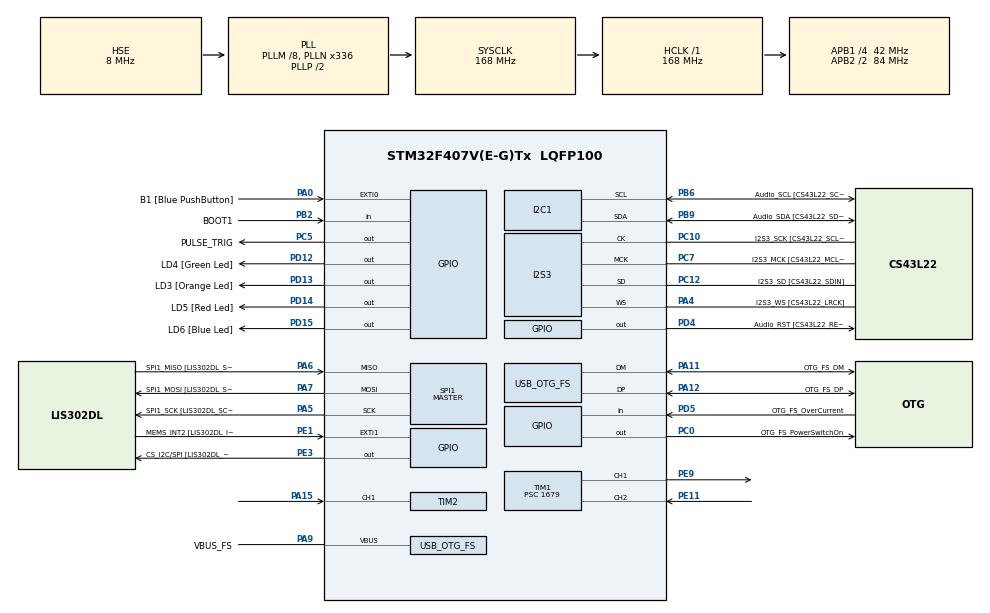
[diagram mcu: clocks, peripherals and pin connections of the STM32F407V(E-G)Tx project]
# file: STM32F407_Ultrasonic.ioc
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I2S3.AudioFreq-Half_Duplex_Master=I2S_AUDIOFREQ_96K
I2S3.ErrorAudioFreq=-2.34 %
I2S3.ErrorAudioFreq-Half_Duplex_Master=0.8 %
I2S3.FullDuplexMode=I2S_FULLDUPLEXMODE_DISABLE
I2S3.Instance=SPI$Index
I2S3.RealAudioFreq=93.75 KHz
I2S3.RealAudioFreq-Half_Duplex_Master=96.774 KHz
I2S3.VirtualMode=I2S_MODE_MASTER
Mcu.Family=STM32F4
Mcu.Name=STM32F407V(E-G)Tx
Mcu.Package=LQFP100
NVIC.OTG_FS_IRQn=true\:0\:0\:false\:false\:true\:true\:true\:true
NVIC.PriorityGroup=NVIC_PRIORITYGROUP_0
NVIC.TIM2_IRQn=true\:0\:0\:false\:false\:true\:true\:true\:true
PA0-WKUP.GPIO_Label=B1 [Blue PushButton]
PA0-WKUP.GPIO_ModeDefaultEXTI=GPIO_MODE_EVT_RISING
PA0-WKUP.GPIO_PuPd=GPIO_NOPULL
PA0-WKUP.Signal=GPXTI0
PA10.GPIO_Label=OTG_FS_ID
PA10.GPIO_Mode=GPIO_MODE_AF_PP
PA10.GPIO_PuPd=GPIO_NOPULL
PA10.GPIO_Speed=GPIO_SPEED_FREQ_LOW
PA10.Signal=USB_OTG_FS_ID
PA11.GPIO_Label=OTG_FS_DM
PA11.GPIO_Mode=GPIO_MODE_AF_PP
PA11.GPIO_PuPd=GPIO_NOPULL
PA11.GPIO_Speed=GPIO_SPEED_FREQ_LOW
PA11.Mode=Host_Only
PA11.Signal=USB_OTG_FS_DM
PA12.GPIO_Label=OTG_FS_DP
PA12.GPIO_Mode=GPIO_MODE_AF_PP
PA12.GPIO_PuPd=GPIO_NOPULL
PA12.GPIO_Speed=GPIO_SPEED_FREQ_LOW
PA12.Mode=Host_Only
PA12.Signal=USB_OTG_FS_DP
PA13.GPIO_Label=SWDIO
PA13.Mode=Serial_Wire
PA13.Signal=SYS_JTMS-SWDIO
PA14.GPIO_Label=SWCLK
PA14.Mode=Serial_Wire
PA14.Signal=SYS_JTCK-SWCLK
PA15.Signal=S_TIM2_CH1_ETR
PA4.GPIO_Label=I2S3_WS [CS43L22_LRCK]
PA4.GPIO_Mode=GPIO_MODE_AF_PP
PA4.GPIO_PuPd=GPIO_NOPULL
PA4.GPIO_Speed=GPIO_SPEED_FREQ_LOW
PA4.Mode=Half_Duplex_Master
PA4.Signal=I2S3_WS
PA5.GPIO_Label=SPI1_SCK [LIS302DL_SCL/SPC]
PA5.GPIO_Mode=GPIO_MODE_AF_PP
PA5.GPIO_PuPd=GPIO_NOPULL
PA5.GPIO_Speed=GPIO_SPEED_FREQ_LOW
PA5.Mode=Full_Duplex_Master
PA5.Signal=SPI1_SCK
PA6.GPIO_Label=SPI1_MISO [LIS302DL_SDO]
PA6.GPIO_Mode=GPIO_MODE_AF_PP
PA6.GPIO_PuPd=GPIO_NOPULL
PA6.GPIO_Speed=GPIO_SPEED_FREQ_LOW
PA6.Mode=Full_Duplex_Master
PA6.Signal=SPI1_MISO
PA7.GPIO_Label=SPI1_MOSI [LIS302DL_SDA/SDI/SDO]
PA7.GPIO_Mode=GPIO_MODE_AF_PP
PA7.GPIO_PuPd=GPIO_NOPULL
PA7.GPIO_Speed=GPIO_SPEED_FREQ_LOW
PA7.Mode=Full_Duplex_Master
PA7.Signal=SPI1_MOSI
PA9.GPIO_Label=VBUS_FS
PA9.GPIO_Mode=GPIO_MODE_INPUT
PA9.GPIO_PuPd=GPIO_NOPULL
PA9.Mode=Activate_VBUS
PA9.Signal=USB_OTG_FS_VBUS
PB10.GPIO_Label=CLK_IN [MP45DT02_CLK]
PB10.GPIO_Mode=GPIO_MODE_AF_PP
PB10.GPIO_PuPd=GPIO_NOPULL
PB10.GPIO_Speed=GPIO_SPEED_FREQ_LOW
PB10.Signal=I2S2_CK
PB2.GPIO_Label=BOOT1
PB2.GPIO_Mode=GPIO_MODE_INPUT
PB2.GPIO_PuPd=GPIO_NOPULL
PB2.Signal=GPIO_Input
PB3.GPIO_Label=SWO
PB3.Signal=SYS_JTDO-SWO
PB6.GPIO_Label=Audio_SCL [CS43L22_SCL]
PB6.GPIO_Mode=GPIO_MODE_AF_OD
PB6.GPIO_Pu=GPIO_PULLUP
PB6.GPIO_PuPd=GPIO_NOPULL
PB6.GPIO_Speed=GPIO_SPEED_FREQ_LOW
PB6.Mode=I2C
PB6.Signal=I2C1_SCL
PB9.GPIO_Label=Audio_SDA [CS43L22_SDA]
PB9.GPIO_Mode=GPIO_MODE_AF_OD
PB9.GPIO_Pu=GPIO_PULLUP
PB9.GPIO_PuPd=GPIO_NOPULL
PB9.GPIO_Speed=GPIO_SPEED_FREQ_LOW
PB9.Mode=I2C
PB9.Signal=I2C1_SDA
PC0.GPIO_Label=OTG_FS_PowerSwitchOn
PC0.GPIO_PuPd=GPIO_NOPULL
PC0.GPIO_Speed=GPIO_SPEED_FREQ_LOW
PC0.PinState=GPIO_PIN_SET
PC0.Signal=GPIO_Output
PC10.GPIO_Label=I2S3_SCK [CS43L22_SCLK]
PC10.GPIO_Mode=GPIO_MODE_AF_PP
PC10.GPIO_PuPd=GPIO_NOPULL
PC10.GPIO_Speed=GPIO_SPEED_FREQ_LOW
PC10.Mode=Half_Duplex_Master
PC10.Signal=I2S3_CK
PC12.GPIO_Label=I2S3_SD [CS43L22_SDIN]
PC12.GPIO_Mode=GPIO_MODE_AF_PP
PC12.GPIO_PuPd=GPIO_NOPULL
PC12.GPIO_Speed=GPIO_SPEED_FREQ_LOW
PC12.Mode=Half_Duplex_Master
PC12.Signal=I2S3_SD
PC14-OSC32_IN.GPIO_Label=PC14-OSC32_IN
PC14-OSC32_IN.Mode=LSE-External-Oscillator
PC14-OSC32_IN.Signal=RCC_OSC32_IN
PC15-OSC32_OUT.GPIO_Label=PC15-OSC32_OUT
PC15-OSC32_OUT.Mode=LSE-External-Oscillator
PC15-OSC32_OUT.Signal=RCC_OSC32_OUT
PC3.GPIO_Label=PDM_OUT [MP45DT02_DOUT]
PC3.GPIO_Mode=GPIO_MODE_AF_PP
PC3.GPIO_PuPd=GPIO_NOPULL
PC3.GPIO_Speed=GPIO_SPEED_FREQ_LOW
PC3.Signal=I2S2_SD
PC5.GPIO_Label=PULSE_TRIG
PC5.Signal=GPIO_Output
PC7.GPIO_Label=I2S3_MCK [CS43L22_MCLK]
PC7.GPIO_Mode=GPIO_MODE_AF_PP
PC7.GPIO_PuPd=GPIO_NOPULL
PC7.GPIO_Speed=GPIO_SPEED_FREQ_LOW
PC7.Mode=Master_Clock_Activated
PC7.Signal=I2S3_MCK
PD12.GPIO_Label=LD4 [Green Led]
PD12.GPIO_PuPd=GPIO_NOPULL
PD12.GPIO_Speed=GPIO_SPEED_FREQ_LOW
PD12.Signal=GPIO_Output
PD13.GPIO_Label=LD3 [Orange Led]
PD13.GPIO_PuPd=GPIO_NOPULL
PD13.GPIO_Speed=GPIO_SPEED_FREQ_LOW
PD13.Signal=GPIO_Output
PD14.GPIO_Label=LD5 [Red Led]
PD14.GPIO_PuPd=GPIO_NOPULL
PD14.GPIO_Speed=GPIO_SPEED_FREQ_LOW
PD14.Signal=GPIO_Output
PD15.GPIO_Label=LD6 [Blue Led]
PD15.GPIO_PuPd=GPIO_NOPULL
PD15.GPIO_Speed=GPIO_SPEED_FREQ_LOW
PD15.Signal=GPIO_Output
PD4.GPIO_Label=Audio_RST [CS43L22_RESET]
PD4.GPIO_PuPd=GPIO_NOPULL
PD4.GPIO_Speed=GPIO_SPEED_FREQ_LOW
PD4.Signal=GPIO_Output
PD5.GPIO_Label=OTG_FS_OverCurrent
PD5.GPIO_Mode=GPIO_MODE_INPUT
PD5.GPIO_PuPd=GPIO_NOPULL
PD5.Signal=GPIO_Input
PE1.GPIO_Label=MEMS_INT2 [LIS302DL_INT2]
PE1.GPIO_ModeDefaultEXTI=GPIO_MODE_EVT_RISING
PE1.GPIO_PuPd=GPIO_NOPULL
PE1.Signal=GPXTI1
PE11.Signal=S_TIM1_CH2
PE3.GPIO_Label=CS_I2C/SPI [LIS302DL_CS_I2C/SPI]
PE3.GPIO_PuPd=GPIO_NOPULL
PE3.GPIO_Speed=GPIO_SPEED_FREQ_LOW
PE3.Signal=GPIO_Output
PE9.Signal=S_TIM1_CH1
PH0-OSC_IN.GPIO_Label=PH0-OSC_IN
PH0-OSC_IN.Mode=HSE-External-Oscillator
PH0-OSC_IN.Signal=RCC_OSC_IN
PH1-OSC_OUT.GPIO_Label=PH1-OSC_OUT
PH1-OSC_OUT.Mode=HSE-External-Oscillator
PH1-OSC_OUT.Signal=RCC_OSC_OUT
ProjectManager.HeapSize=0x200
ProjectManager.StackSize=0x400
ProjectManager.TargetToolchain=STM32CubeIDE
RCC.48MHZClocksFreq_Value=48000000
RCC.AHBFreq_Value=168000000
RCC.APB1CLKDivider=RCC_HCLK_DIV4
RCC.APB1Freq_Value=42000000
RCC.APB1TimFreq_Value=84000000
RCC.APB2CLKDivider=RCC_HCLK_DIV2
RCC.APB2Freq_Value=84000000
RCC.APB2TimFreq_Value=168000000
RCC.CortexFreq_Value=168000000
RCC.HCLKFreq_Value=168000000
RCC.HSE_VALUE=8000000
RCC.HSI_VALUE=16000000
RCC.PLLM=8
RCC.PLLN=336
RCC.PLLQ=7
RCC.SYSCLKFreq_VALUE=168000000
RCC.SYSCLKSource=RCC_SYSCLKSOURCE_PLLCLK
RCC.VCOOutputFreq_Value=336000000
SH.S_TIM1_CH1.0=TIM1_CH1,PWM Generation1 CH1
SH.S_TIM1_CH2.0=TIM1_CH2,TriggerSource_TI2FP2
SH.S_TIM2_CH1_ETR.0=TIM2_CH1,Input_Capture1_from_TI1
SPI1.BaudRatePrescaler-Full_Duplex_Master=SPI_BAUDRATEPRESCALER_2
SPI1.CalculateBaudRate-Full_Duplex_Master=42.0 MBits/s
SPI1.Direction=SPI_DIRECTION_2LINES
SPI1.Mode=SPI_MODE_MASTER
SPI1.Mode-Full_Duplex_Master=SPI_MODE_MASTER
SPI1.VirtualType=VM_MASTER
TIM1.Channel-PWM\ Generation1\ CH1=TIM_CHANNEL_1
TIM1.OCMode_PWM-PWM\ Generation1\ CH1=TIM_OCMODE_PWM2
TIM1.Period=10000-1
TIM1.Prescaler=1679
TIM1.Pulse-PWM\ Generation1\ CH1=9999
TIM2.Channel-Input_Capture1_from_TI1=TIM_CHANNEL_1
TIM2.ICPolarity_CH1=TIM_INPUTCHANNELPOLARITY_BOTHEDGE
TIM2.Period=4294967295
TIM2.Prescaler=83
USB_HOST.BSP.number=1
USB_HOST.USBH_HandleTypeDef-CDC_FS=hUsbHostFS
USB_HOST.VirtualModeFS=Cdc
USB_HOST0.BSP.STBoard=false
USB_HOST0.BSP.api=Unknown
USB_HOST0.BSP.instance=PC0
USB_HOST0.BSP.ip=GPIO
USB_HOST0.BSP.mode=Output
USB_HOST0.BSP.name=Drive_VBUS_FS
USB_HOST0.BSP.solution=PC0
USB_OTG_FS.VirtualMode=Host_Only
USB_OTG_FS.phy_itface=HCD_PHY_EMBEDDED
VP_TIM1_VS_ControllerModeTrigger.Mode=Trigger Mode
VP_TIM1_VS_OPM.Mode=OPM_bit
VP_USB_HOST_VS_USB_HOST_CDC_FS.Mode=CDC_FS
board=STM32F407G-DISC1

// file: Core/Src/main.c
/* USER CODE BEGIN Header */
/**
  ******************************************************************************
  * @file           : main.c
  * @brief          : Main program body
  ******************************************************************************
  * @attention
  *
  * Copyright (c) 2025 STMicroelectronics.
  * All rights reserved.
  *
  * This software is licensed under terms that can be found in the LICENSE file
  * in the root directory of this software component.
  * If no LICENSE file comes with this software, it is provided AS-IS.
  *
  ******************************************************************************
  */
/* USER CODE END Header */
#include "main.h"
#include "usb_host.h"

I2C_HandleTypeDef hi2c1;

I2S_HandleTypeDef hi2s3;

SPI_HandleTypeDef hspi1;

TIM_HandleTypeDef htim1;
TIM_HandleTypeDef htim2;

/* USER CODE BEGIN PV */

uint32_t gCaptureFlag = 0;
uint32_t gCaptureValue1;
uint32_t gCaptureValue2;
uint32_t gPeriod;
float gDistance;

/* USER CODE END PV */

void SystemClock_Config(void);
static void MX_GPIO_Init(void);
static void MX_I2C1_Init(void);
static void MX_I2S3_Init(void);
static void MX_SPI1_Init(void);
static void MX_TIM1_Init(void);
static void MX_TIM2_Init(void);
void MX_USB_HOST_Process(void);

int main(void)
{

  /* MCU Configuration--------------------------------------------------------*/

  /* Reset of all peripherals, Initializes the Flash interface and the Systick. */
  HAL_Init();

  /* Configure the system clock */
  SystemClock_Config();

  /* Initialize all configured peripherals */
  MX_GPIO_Init();
  MX_I2C1_Init();
  MX_I2S3_Init();
  MX_SPI1_Init();
  MX_USB_HOST_Init();
  MX_TIM1_Init();
  MX_TIM2_Init();
  /* USER CODE BEGIN 2 */

  HAL_TIM_IC_Start_IT(&htim2, TIM_CHANNEL_1);

  HAL_TIM_OnePulse_Start(&htim1, TIM_CHANNEL_1);

  HAL_GPIO_WritePin(PULSE_TRIG_GPIO_Port, PULSE_TRIG_Pin, GPIO_PIN_RESET);
  HAL_Delay(1000);
  HAL_GPIO_WritePin(PULSE_TRIG_GPIO_Port, PULSE_TRIG_Pin, GPIO_PIN_SET);
  HAL_GPIO_WritePin(PULSE_TRIG_GPIO_Port, PULSE_TRIG_Pin, GPIO_PIN_RESET);

  /* USER CODE END 2 */

  /* Infinite loop */
  /* USER CODE BEGIN WHILE */
  while (1)
  {
	HAL_GPIO_WritePin(PULSE_TRIG_GPIO_Port, PULSE_TRIG_Pin, GPIO_PIN_SET);
	HAL_GPIO_WritePin(PULSE_TRIG_GPIO_Port, PULSE_TRIG_Pin, GPIO_PIN_RESET);
	HAL_Delay(100);

    /* USER CODE END WHILE */
    MX_USB_HOST_Process();

  }
}

void SystemClock_Config(void)
{
  RCC_OscInitTypeDef RCC_OscInitStruct = {0};
  RCC_ClkInitTypeDef RCC_ClkInitStruct = {0};

  /** Configure the main internal regulator output voltage
  */
  __HAL_RCC_PWR_CLK_ENABLE();
  __HAL_PWR_VOLTAGESCALING_CONFIG(PWR_REGULATOR_VOLTAGE_SCALE1);

  /** Initializes the RCC Oscillators according to the specified parameters
  * in the RCC_OscInitTypeDef structure.
  */
  RCC_OscInitStruct.OscillatorType = RCC_OSCILLATORTYPE_HSE;
  RCC_OscInitStruct.HSEState = RCC_HSE_ON;
  RCC_OscInitStruct.PLL.PLLState = RCC_PLL_ON;
  RCC_OscInitStruct.PLL.PLLSource = RCC_PLLSOURCE_HSE;
  RCC_OscInitStruct.PLL.PLLM = 8;
  RCC_OscInitStruct.PLL.PLLN = 336;
  RCC_OscInitStruct.PLL.PLLP = RCC_PLLP_DIV2;
  RCC_OscInitStruct.PLL.PLLQ = 7;
  if (HAL_RCC_OscConfig(&RCC_OscInitStruct) != HAL_OK)
  {
    Error_Handler();
  }

  /** Initializes the CPU, AHB and APB buses clocks
  */
  RCC_ClkInitStruct.ClockType = RCC_CLOCKTYPE_HCLK|RCC_CLOCKTYPE_SYSCLK
                              |RCC_CLOCKTYPE_PCLK1|RCC_CLOCKTYPE_PCLK2;
  RCC_ClkInitStruct.SYSCLKSource = RCC_SYSCLKSOURCE_PLLCLK;
  RCC_ClkInitStruct.AHBCLKDivider = RCC_SYSCLK_DIV1;
  RCC_ClkInitStruct.APB1CLKDivider = RCC_HCLK_DIV4;
  RCC_ClkInitStruct.APB2CLKDivider = RCC_HCLK_DIV2;

  if (HAL_RCC_ClockConfig(&RCC_ClkInitStruct, FLASH_LATENCY_5) != HAL_OK)
  {
    Error_Handler();
  }
}

static void MX_I2C1_Init(void)
{

  hi2c1.Instance = I2C1;
  hi2c1.Init.ClockSpeed = 100000;
  hi2c1.Init.DutyCycle = I2C_DUTYCYCLE_2;
  hi2c1.Init.OwnAddress1 = 0;
  hi2c1.Init.AddressingMode = I2C_ADDRESSINGMODE_7BIT;
  hi2c1.Init.DualAddressMode = I2C_DUALADDRESS_DISABLE;
  hi2c1.Init.OwnAddress2 = 0;
  hi2c1.Init.GeneralCallMode = I2C_GENERALCALL_DISABLE;
  hi2c1.Init.NoStretchMode = I2C_NOSTRETCH_DISABLE;
  if (HAL_I2C_Init(&hi2c1) != HAL_OK)
  {
    Error_Handler();
  }

}

static void MX_I2S3_Init(void)
{

  hi2s3.Instance = SPI3;
  hi2s3.Init.Mode = I2S_MODE_MASTER_TX;
  hi2s3.Init.Standard = I2S_STANDARD_PHILIPS;
  hi2s3.Init.DataFormat = I2S_DATAFORMAT_16B;
  hi2s3.Init.MCLKOutput = I2S_MCLKOUTPUT_ENABLE;
  hi2s3.Init.AudioFreq = I2S_AUDIOFREQ_96K;
  hi2s3.Init.CPOL = I2S_CPOL_LOW;
  hi2s3.Init.ClockSource = I2S_CLOCK_PLL;
  hi2s3.Init.FullDuplexMode = I2S_FULLDUPLEXMODE_DISABLE;
  if (HAL_I2S_Init(&hi2s3) != HAL_OK)
  {
    Error_Handler();
  }

}

static void MX_SPI1_Init(void)
{

  /* SPI1 parameter configuration*/
  hspi1.Instance = SPI1;
  hspi1.Init.Mode = SPI_MODE_MASTER;
  hspi1.Init.Direction = SPI_DIRECTION_2LINES;
  hspi1.Init.DataSize = SPI_DATASIZE_8BIT;
  hspi1.Init.CLKPolarity = SPI_POLARITY_LOW;
  hspi1.Init.CLKPhase = SPI_PHASE_1EDGE;
  hspi1.Init.NSS = SPI_NSS_SOFT;
  hspi1.Init.BaudRatePrescaler = SPI_BAUDRATEPRESCALER_2;
  hspi1.Init.FirstBit = SPI_FIRSTBIT_MSB;
  hspi1.Init.TIMode = SPI_TIMODE_DISABLE;
  hspi1.Init.CRCCalculation = SPI_CRCCALCULATION_DISABLE;
  hspi1.Init.CRCPolynomial = 10;
  if (HAL_SPI_Init(&hspi1) != HAL_OK)
  {
    Error_Handler();
  }

}

static void MX_TIM1_Init(void)
{

  TIM_SlaveConfigTypeDef sSlaveConfig = {0};
  TIM_MasterConfigTypeDef sMasterConfig = {0};
  TIM_OC_InitTypeDef sConfigOC = {0};
  TIM_BreakDeadTimeConfigTypeDef sBreakDeadTimeConfig = {0};

  htim1.Instance = TIM1;
  htim1.Init.Prescaler = 1679;
  htim1.Init.CounterMode = TIM_COUNTERMODE_UP;
  htim1.Init.Period = 10000-1;
  htim1.Init.ClockDivision = TIM_CLOCKDIVISION_DIV1;
  htim1.Init.RepetitionCounter = 0;
  htim1.Init.AutoReloadPreload = TIM_AUTORELOAD_PRELOAD_DISABLE;
  if (HAL_TIM_Base_Init(&htim1) != HAL_OK)
  {
    Error_Handler();
  }
  if (HAL_TIM_PWM_Init(&htim1) != HAL_OK)
  {
    Error_Handler();
  }
  if (HAL_TIM_OnePulse_Init(&htim1, TIM_OPMODE_SINGLE) != HAL_OK)
  {
    Error_Handler();
  }
  sSlaveConfig.SlaveMode = TIM_SLAVEMODE_TRIGGER;
  sSlaveConfig.InputTrigger = TIM_TS_TI2FP2;
  sSlaveConfig.TriggerPolarity = TIM_TRIGGERPOLARITY_RISING;
  sSlaveConfig.TriggerFilter = 0;
  if (HAL_TIM_SlaveConfigSynchro(&htim1, &sSlaveConfig) != HAL_OK)
  {
    Error_Handler();
  }
  sMasterConfig.MasterOutputTrigger = TIM_TRGO_RESET;
  sMasterConfig.MasterSlaveMode = TIM_MASTERSLAVEMODE_DISABLE;
  if (HAL_TIMEx_MasterConfigSynchronization(&htim1, &sMasterConfig) != HAL_OK)
  {
    Error_Handler();
  }
  sConfigOC.OCMode = TIM_OCMODE_PWM2;
  sConfigOC.Pulse = 9999;
  sConfigOC.OCPolarity = TIM_OCPOLARITY_HIGH;
  sConfigOC.OCNPolarity = TIM_OCNPOLARITY_HIGH;
  sConfigOC.OCFastMode = TIM_OCFAST_DISABLE;
  sConfigOC.OCIdleState = TIM_OCIDLESTATE_RESET;
  sConfigOC.OCNIdleState = TIM_OCNIDLESTATE_RESET;
  if (HAL_TIM_PWM_ConfigChannel(&htim1, &sConfigOC, TIM_CHANNEL_1) != HAL_OK)
  {
    Error_Handler();
  }
  sBreakDeadTimeConfig.OffStateRunMode = TIM_OSSR_DISABLE;
  sBreakDeadTimeConfig.OffStateIDLEMode = TIM_OSSI_DISABLE;
  sBreakDeadTimeConfig.LockLevel = TIM_LOCKLEVEL_OFF;
  sBreakDeadTimeConfig.DeadTime = 0;
  sBreakDeadTimeConfig.BreakState = TIM_BREAK_DISABLE;
  sBreakDeadTimeConfig.BreakPolarity = TIM_BREAKPOLARITY_HIGH;
  sBreakDeadTimeConfig.AutomaticOutput = TIM_AUTOMATICOUTPUT_DISABLE;
  if (HAL_TIMEx_ConfigBreakDeadTime(&htim1, &sBreakDeadTimeConfig) != HAL_OK)
  {
    Error_Handler();
  }
  HAL_TIM_MspPostInit(&htim1);

}

static void MX_TIM2_Init(void)
{

  TIM_MasterConfigTypeDef sMasterConfig = {0};
  TIM_IC_InitTypeDef sConfigIC = {0};

  htim2.Instance = TIM2;
  htim2.Init.Prescaler = 83;
  htim2.Init.CounterMode = TIM_COUNTERMODE_UP;
  htim2.Init.Period = 4294967295;
  htim2.Init.ClockDivision = TIM_CLOCKDIVISION_DIV1;
  htim2.Init.AutoReloadPreload = TIM_AUTORELOAD_PRELOAD_DISABLE;
  if (HAL_TIM_IC_Init(&htim2) != HAL_OK)
  {
    Error_Handler();
  }
  sMasterConfig.MasterOutputTrigger = TIM_TRGO_RESET;
  sMasterConfig.MasterSlaveMode = TIM_MASTERSLAVEMODE_DISABLE;
  if (HAL_TIMEx_MasterConfigSynchronization(&htim2, &sMasterConfig) != HAL_OK)
  {
    Error_Handler();
  }
  sConfigIC.ICPolarity = TIM_INPUTCHANNELPOLARITY_BOTHEDGE;
  sConfigIC.ICSelection = TIM_ICSELECTION_DIRECTTI;
  sConfigIC.ICPrescaler = TIM_ICPSC_DIV1;
  sConfigIC.ICFilter = 0;
  if (HAL_TIM_IC_ConfigChannel(&htim2, &sConfigIC, TIM_CHANNEL_1) != HAL_OK)
  {
    Error_Handler();
  }

}

static void MX_GPIO_Init(void)
{
  GPIO_InitTypeDef GPIO_InitStruct = {0};

  /* GPIO Ports Clock Enable */
  __HAL_RCC_GPIOE_CLK_ENABLE();
  __HAL_RCC_GPIOC_CLK_ENABLE();
  __HAL_RCC_GPIOH_CLK_ENABLE();
  __HAL_RCC_GPIOA_CLK_ENABLE();
  __HAL_RCC_GPIOB_CLK_ENABLE();
  __HAL_RCC_GPIOD_CLK_ENABLE();

  /*Configure GPIO pin Output Level */
  HAL_GPIO_WritePin(CS_I2C_SPI_GPIO_Port, CS_I2C_SPI_Pin, GPIO_PIN_RESET);

  /*Configure GPIO pin Output Level */
  HAL_GPIO_WritePin(OTG_FS_PowerSwitchOn_GPIO_Port, OTG_FS_PowerSwitchOn_Pin, GPIO_PIN_SET);

  /*Configure GPIO pin Output Level */
  HAL_GPIO_WritePin(PULSE_TRIG_GPIO_Port, PULSE_TRIG_Pin, GPIO_PIN_RESET);

  /*Configure GPIO pin Output Level */
  HAL_GPIO_WritePin(GPIOD, LD4_Pin|LD3_Pin|LD5_Pin|LD6_Pin
                          |Audio_RST_Pin, GPIO_PIN_RESET);

  /*Configure GPIO pin : CS_I2C_SPI_Pin */
  GPIO_InitStruct.Pin = CS_I2C_SPI_Pin;
  GPIO_InitStruct.Mode = GPIO_MODE_OUTPUT_PP;
  GPIO_InitStruct.Pull = GPIO_NOPULL;
  GPIO_InitStruct.Speed = GPIO_SPEED_FREQ_LOW;
  HAL_GPIO_Init(CS_I2C_SPI_GPIO_Port, &GPIO_InitStruct);

  /*Configure GPIO pins : OTG_FS_PowerSwitchOn_Pin PULSE_TRIG_Pin */
  GPIO_InitStruct.Pin = OTG_FS_PowerSwitchOn_Pin|PULSE_TRIG_Pin;
  GPIO_InitStruct.Mode = GPIO_MODE_OUTPUT_PP;
  GPIO_InitStruct.Pull = GPIO_NOPULL;
  GPIO_InitStruct.Speed = GPIO_SPEED_FREQ_LOW;
  HAL_GPIO_Init(GPIOC, &GPIO_InitStruct);

  /*Configure GPIO pin : PDM_OUT_Pin */
  GPIO_InitStruct.Pin = PDM_OUT_Pin;
  GPIO_InitStruct.Mode = GPIO_MODE_AF_PP;
  GPIO_InitStruct.Pull = GPIO_NOPULL;
  GPIO_InitStruct.Speed = GPIO_SPEED_FREQ_LOW;
  GPIO_InitStruct.Alternate = GPIO_AF5_SPI2;
  HAL_GPIO_Init(PDM_OUT_GPIO_Port, &GPIO_InitStruct);

  /*Configure GPIO pin : B1_Pin */
  GPIO_InitStruct.Pin = B1_Pin;
  GPIO_InitStruct.Mode = GPIO_MODE_EVT_RISING;
  GPIO_InitStruct.Pull = GPIO_NOPULL;
  HAL_GPIO_Init(B1_GPIO_Port, &GPIO_InitStruct);

  /*Configure GPIO pin : BOOT1_Pin */
  GPIO_InitStruct.Pin = BOOT1_Pin;
  GPIO_InitStruct.Mode = GPIO_MODE_INPUT;
  GPIO_InitStruct.Pull = GPIO_NOPULL;
  HAL_GPIO_Init(BOOT1_GPIO_Port, &GPIO_InitStruct);

  /*Configure GPIO pin : CLK_IN_Pin */
  GPIO_InitStruct.Pin = CLK_IN_Pin;
  GPIO_InitStruct.Mode = GPIO_MODE_AF_PP;
  GPIO_InitStruct.Pull = GPIO_NOPULL;
  GPIO_InitStruct.Speed = GPIO_SPEED_FREQ_LOW;
  GPIO_InitStruct.Alternate = GPIO_AF5_SPI2;
  HAL_GPIO_Init(CLK_IN_GPIO_Port, &GPIO_InitStruct);

  /*Configure GPIO pins : LD4_Pin LD3_Pin LD5_Pin LD6_Pin
                           Audio_RST_Pin */
  GPIO_InitStruct.Pin = LD4_Pin|LD3_Pin|LD5_Pin|LD6_Pin
                          |Audio_RST_Pin;
  GPIO_InitStruct.Mode = GPIO_MODE_OUTPUT_PP;
  GPIO_InitStruct.Pull = GPIO_NOPULL;
  GPIO_InitStruct.Speed = GPIO_SPEED_FREQ_LOW;
  HAL_GPIO_Init(GPIOD, &GPIO_InitStruct);

  /*Configure GPIO pin : OTG_FS_OverCurrent_Pin */
  GPIO_InitStruct.Pin = OTG_FS_OverCurrent_Pin;
  GPIO_InitStruct.Mode = GPIO_MODE_INPUT;
  GPIO_InitStruct.Pull = GPIO_NOPULL;
  HAL_GPIO_Init(OTG_FS_OverCurrent_GPIO_Port, &GPIO_InitStruct);

  /*Configure GPIO pin : MEMS_INT2_Pin */
  GPIO_InitStruct.Pin = MEMS_INT2_Pin;
  GPIO_InitStruct.Mode = GPIO_MODE_EVT_RISING;
  GPIO_InitStruct.Pull = GPIO_NOPULL;
  HAL_GPIO_Init(MEMS_INT2_GPIO_Port, &GPIO_InitStruct);

}

/* USER CODE BEGIN 4 */

void HAL_TIM_IC_CaptureCallback(TIM_HandleTypeDef *htim)
{
    if (htim->Instance == TIM2)
    {
        if (gCaptureFlag == 0)
        {
            // First capture - store the first capture value
            gCaptureValue1 = HAL_TIM_ReadCapturedValue(htim, TIM_CHANNEL_1);
            gCaptureFlag = 1;
        }
        else if (gCaptureFlag == 1)
        {
            // Second capture - store the second capture value
            gCaptureValue2 = HAL_TIM_ReadCapturedValue(htim, TIM_CHANNEL_1);

            // Calculate the period
            if (gCaptureValue2 > gCaptureValue1)
            {
                gPeriod = gCaptureValue2 - gCaptureValue1;
            }
            else
            {
                // Timer overflow handling (wrap around)
                gPeriod = (0xFFFF - gCaptureValue1) + gCaptureValue2 + 1;
            }
            gDistance = (float)gPeriod/58.3f;
            // Reset capture flag
            gCaptureFlag = 0;

        }
    }
}

/* USER CODE END 4 */

void Error_Handler(void)
{
  __disable_irq();
  while (1)
  {
  }
}
